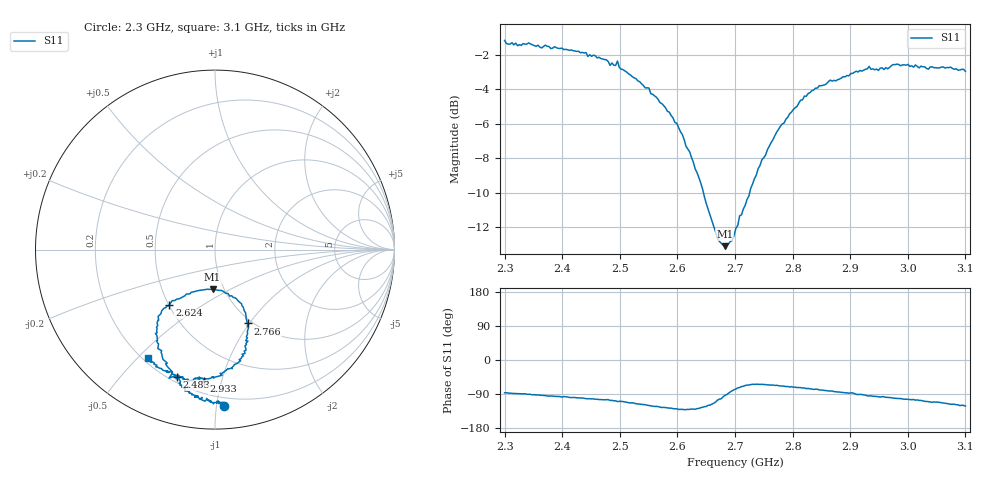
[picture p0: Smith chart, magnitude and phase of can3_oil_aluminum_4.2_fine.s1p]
# MHz S MA R 50
!  freq  S11
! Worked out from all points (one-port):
!   250 points, 2.3 GHz to 3.1 GHz, reference 50 ohm
!   lowest |S11| = -13.1 dB at 2.682 GHz (marker M1), VSWR 1.57, Z = 44.2 - j20.6 ohm
!   |S11| at or under -10 dB: 2.645 GHz to 2.725 GHz (80.14 MHz wide, 2.98 % of centre)
!   S11 on the Smith chart (normalised r, x): 2.3 GHz: 0.14, -1.05; 2.483 GHz: 0.23, -0.72; 2.624 GHz: 0.50, -0.37; 2.766 GHz: 0.95, -0.99; 2.933 GHz: 0.28, -0.88; 3.1 GHz: 0.22, -0.54
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2300  0.8733 -86.6
2335.341  0.8518 -89.1
2399.598  0.8296 -97.9
2402.811  0.8215 -96.6
2412.45  0.8176 -98.9
2454.217  0.7918 -102.5
2476.707  0.7676 -104.7
2483.133  0.7393 -106.6
2492.771  0.7396 -107.8
2495.984  0.7612 -109.7
2502.41  0.7212 -109.2
2550.602  0.636 -120.1
2602.008  0.4891 -130.4
2624.498  0.4002 -129.4
2669.478  0.2331 -106.1
2682.329  0.2217 -93.5
2695.181  0.2301 -81.2
2701.606  0.2498 -76.5
2730.522  0.3355 -63.9
2765.863  0.4509 -65.9
2801.205  0.5511 -71.8
2846.185  0.6459 -78.9
2900.803  0.7005 -87.0
2932.932  0.7346 -95.0
2948.996  0.7153 -97.0
3000.402  0.7445 -103.8
3061.446  0.732 -113.3
3100  0.7111 -121.4
